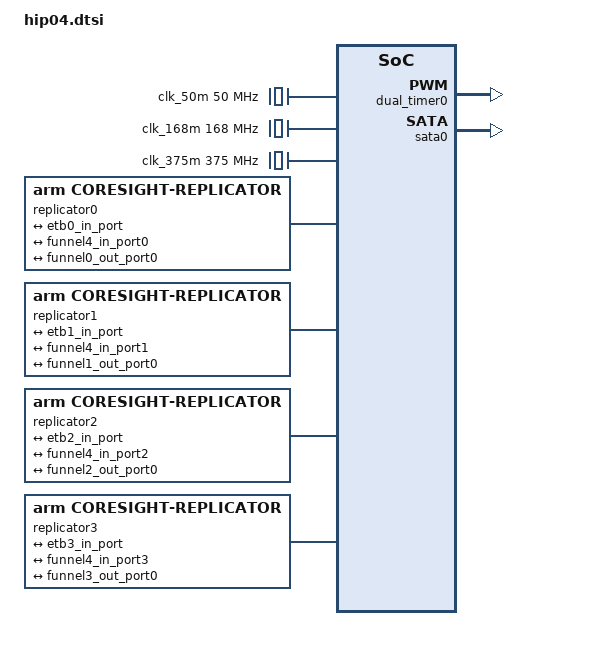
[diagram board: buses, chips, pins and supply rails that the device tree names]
// SPDX-License-Identifier: GPL-2.0-only
/*
 * Hisilicon Ltd. HiP04 SoC
 *
 * Copyright (C) 2013-2014 Hisilicon Ltd.
 * Copyright (C) 2013-2014 Linaro Ltd.
 *
 * Author: Haojian Zhuang <haojian.zhuang@linaro.org>
 */

/ {
	/* memory bus is 64-bit */
	#address-cells = <2>;
	#size-cells = <2>;

	aliases {
		serial0 = &uart0;
	};

	bootwrapper {
		compatible = "hisilicon,hip04-bootwrapper";
		boot-method = <0x10c00000 0x10000>, <0xe0000100 0x1000>;
	};

	cpus {
		#address-cells = <1>;
		#size-cells = <0>;

		cpu-map {
			cluster0 {
				core0 {
					cpu = <&CPU0>;
				};
				core1 {
					cpu = <&CPU1>;
				};
				core2 {
					cpu = <&CPU2>;
				};
				core3 {
					cpu = <&CPU3>;
				};
			};
			cluster1 {
				core0 {
					cpu = <&CPU4>;
				};
				core1 {
					cpu = <&CPU5>;
				};
				core2 {
					cpu = <&CPU6>;
				};
				core3 {
					cpu = <&CPU7>;
				};
			};
			cluster2 {
				core0 {
					cpu = <&CPU8>;
				};
				core1 {
					cpu = <&CPU9>;
				};
				core2 {
					cpu = <&CPU10>;
				};
				core3 {
					cpu = <&CPU11>;
				};
			};
			cluster3 {
				core0 {
					cpu = <&CPU12>;
				};
				core1 {
					cpu = <&CPU13>;
				};
				core2 {
					cpu = <&CPU14>;
				};
				core3 {
					cpu = <&CPU15>;
				};
			};
		};
		CPU0: cpu@0 {
			device_type = "cpu";
			compatible = "arm,cortex-a15";
			reg = <0>;
		};
		CPU1: cpu@1 {
			device_type = "cpu";
			compatible = "arm,cortex-a15";
			reg = <1>;
		};
		CPU2: cpu@2 {
			device_type = "cpu";
			compatible = "arm,cortex-a15";
			reg = <2>;
		};
		CPU3: cpu@3 {
			device_type = "cpu";
			compatible = "arm,cortex-a15";
			reg = <3>;
		};
		CPU4: cpu@100 {
			device_type = "cpu";
			compatible = "arm,cortex-a15";
			reg = <0x100>;
		};
		CPU5: cpu@101 {
			device_type = "cpu";
			compatible = "arm,cortex-a15";
			reg = <0x101>;
		};
		CPU6: cpu@102 {
			device_type = "cpu";
			compatible = "arm,cortex-a15";
			reg = <0x102>;
		};
		CPU7: cpu@103 {
			device_type = "cpu";
			compatible = "arm,cortex-a15";
			reg = <0x103>;
		};
		CPU8: cpu@200 {
			device_type = "cpu";
			compatible = "arm,cortex-a15";
			reg = <0x200>;
		};
		CPU9: cpu@201 {
			device_type = "cpu";
			compatible = "arm,cortex-a15";
			reg = <0x201>;
		};
		CPU10: cpu@202 {
			device_type = "cpu";
			compatible = "arm,cortex-a15";
			reg = <0x202>;
		};
		CPU11: cpu@203 {
			device_type = "cpu";
			compatible = "arm,cortex-a15";
			reg = <0x203>;
		};
		CPU12: cpu@300 {
			device_type = "cpu";
			compatible = "arm,cortex-a15";
			reg = <0x300>;
		};
		CPU13: cpu@301 {
			device_type = "cpu";
			compatible = "arm,cortex-a15";
			reg = <0x301>;
		};
		CPU14: cpu@302 {
			device_type = "cpu";
			compatible = "arm,cortex-a15";
			reg = <0x302>;
		};
		CPU15: cpu@303 {
			device_type = "cpu";
			compatible = "arm,cortex-a15";
			reg = <0x303>;
		};
	};

	timer {
		compatible = "arm,armv7-timer";
		interrupt-parent = <&gic>;
		interrupts = <1 13 0xf08>,
			     <1 14 0xf08>,
			     <1 11 0xf08>,
			     <1 10 0xf08>;
	};

	clk_50m: clk_50m {
		#clock-cells = <0>;
		compatible = "fixed-clock";
		clock-frequency = <50000000>;
	};

	clk_168m: clk_168m {
		#clock-cells = <0>;
		compatible = "fixed-clock";
		clock-frequency = <168000000>;
	};

	clk_375m: clk_375m {
		#clock-cells = <0>;
		compatible = "fixed-clock";
		clock-frequency = <375000000>;
	};

	soc {
		/* It's a 32-bit SoC. */
		#address-cells = <1>;
		#size-cells = <1>;
		compatible = "simple-bus";
		interrupt-parent = <&gic>;
		ranges = <0 0 0xe0000000 0x10000000>;

		gic: interrupt-controller@c01000 {
			compatible = "hisilicon,hip04-intc";
			#interrupt-cells = <3>;
			#address-cells = <0>;
			interrupt-controller;
			interrupts = <1 9 0xf04>;

			reg = <0xc01000 0x1000>, <0xc02000 0x1000>,
			      <0xc04000 0x2000>, <0xc06000 0x2000>;
		};

		sysctrl: sysctrl {
			compatible = "hisilicon,sysctrl";
			reg = <0x3e00000 0x00100000>;
		};

		fabric: fabric {
			compatible = "hisilicon,hip04-fabric";
			reg = <0x302a000 0x1000>;
		};

		dual_timer0: dual_timer@3000000 {
			compatible = "arm,sp804", "arm,primecell";
			reg = <0x3000000 0x1000>;
			interrupts = <0 224 4>;
			clocks = <&clk_50m>, <&clk_50m>;
			clock-names = "apb_pclk";
		};

		arm-pmu {
			compatible = "arm,cortex-a15-pmu";
			interrupts = <0 64 4>,
				     <0 65 4>,
				     <0 66 4>,
				     <0 67 4>,
				     <0 68 4>,
				     <0 69 4>,
				     <0 70 4>,
				     <0 71 4>,
				     <0 72 4>,
				     <0 73 4>,
				     <0 74 4>,
				     <0 75 4>,
				     <0 76 4>,
				     <0 77 4>,
				     <0 78 4>,
				     <0 79 4>;
		};

		uart0: uart@4007000 {
			compatible = "snps,dw-apb-uart";
			reg = <0x4007000 0x1000>;
			interrupts = <0 381 4>;
			clocks = <&clk_168m>;
			clock-names = "uartclk";
			reg-shift = <2>;
			status = "disabled";
		};

		sata0: sata@a000000 {
			compatible = "hisilicon,hisi-ahci";
			reg = <0xa000000 0x1000000>;
			interrupts = <0 372 4>;
		};

	};

	etb@0,e3c42000 {
		compatible = "arm,coresight-etb10", "arm,primecell";
		reg = <0 0xe3c42000 0 0x1000>;

		clocks = <&clk_375m>;
		clock-names = "apb_pclk";
		in-ports {
			port {
				etb0_in_port: endpoint@0 {
					remote-endpoint = <&replicator0_out_port0>;
				};
			};
		};
	};

	etb@0,e3c82000 {
		compatible = "arm,coresight-etb10", "arm,primecell";
		reg = <0 0xe3c82000 0 0x1000>;

		clocks = <&clk_375m>;
		clock-names = "apb_pclk";
		in-ports {
			port {
				etb1_in_port: endpoint@0 {
					remote-endpoint = <&replicator1_out_port0>;
				};
			};
		};
	};

	etb@0,e3cc2000 {
		compatible = "arm,coresight-etb10", "arm,primecell";
		reg = <0 0xe3cc2000 0 0x1000>;

		clocks = <&clk_375m>;
		clock-names = "apb_pclk";
		in-ports {
			port {
				etb2_in_port: endpoint@0 {
					remote-endpoint = <&replicator2_out_port0>;
				};
			};
		};
	};

	etb@0,e3d02000 {
		compatible = "arm,coresight-etb10", "arm,primecell";
		reg = <0 0xe3d02000 0 0x1000>;

		clocks = <&clk_375m>;
		clock-names = "apb_pclk";
		in-ports {
			port {
				etb3_in_port: endpoint@0 {
					remote-endpoint = <&replicator3_out_port0>;
				};
			};
		};
	};

	tpiu@0,e3c05000 {
		compatible = "arm,coresight-tpiu", "arm,primecell";
		reg = <0 0xe3c05000 0 0x1000>;

		clocks = <&clk_375m>;
		clock-names = "apb_pclk";
		in-ports {
			port {
				tpiu_in_port: endpoint@0 {
					remote-endpoint = <&funnel4_out_port0>;
				};
			};
		};
	};

	replicator0 {
		/* non-configurable replicators don't show up on the
		 * AMBA bus.  As such no need to add "arm,primecell".
		 */
		compatible = "arm,coresight-replicator";

		out-ports {
			#address-cells = <1>;
			#size-cells = <0>;

			/* replicator output ports */
			port@0 {
				reg = <0>;
				replicator0_out_port0: endpoint {
					remote-endpoint = <&etb0_in_port>;
				};
			};

			port@1 {
				reg = <1>;
				replicator0_out_port1: endpoint {
					remote-endpoint = <&funnel4_in_port0>;
				};
			};
		};

		in-ports {
			port {
				replicator0_in_port0: endpoint {
					remote-endpoint = <&funnel0_out_port0>;
				};
			};
		};
	};

	replicator1 {
		/* non-configurable replicators don't show up on the
		 * AMBA bus.  As such no need to add "arm,primecell".
		 */
		compatible = "arm,coresight-replicator";

		out-ports {
			#address-cells = <1>;
			#size-cells = <0>;

			/* replicator output ports */
			port@0 {
				reg = <0>;
				replicator1_out_port0: endpoint {
					remote-endpoint = <&etb1_in_port>;
				};
			};

			port@1 {
				reg = <1>;
				replicator1_out_port1: endpoint {
					remote-endpoint = <&funnel4_in_port1>;
				};
			};
		};

		in-ports {
			port {
				replicator1_in_port0: endpoint {
					remote-endpoint = <&funnel1_out_port0>;
				};
			};
		};
	};

	replicator2 {
		/* non-configurable replicators don't show up on the
		 * AMBA bus.  As such no need to add "arm,primecell".
		 */
		compatible = "arm,coresight-replicator";

		out-ports {
			#address-cells = <1>;
			#size-cells = <0>;

			port@0 {
				reg = <0>;
				replicator2_out_port0: endpoint {
					remote-endpoint = <&etb2_in_port>;
				};
			};

			port@1 {
				reg = <1>;
					replicator2_out_port1: endpoint {
					remote-endpoint = <&funnel4_in_port2>;
				};
			};
		};

		in-ports {
			port {
				replicator2_in_port0: endpoint {
					remote-endpoint = <&funnel2_out_port0>;
				};
			};
		};
	};

	replicator3 {
		/* non-configurable replicators don't show up on the
		 * AMBA bus.  As such no need to add "arm,primecell".
		 */
		compatible = "arm,coresight-replicator";

		out-ports {
			#address-cells = <1>;
			#size-cells = <0>;

			port@0 {
				reg = <0>;
				replicator3_out_port0: endpoint {
					remote-endpoint = <&etb3_in_port>;
				};
			};

			port@1 {
				reg = <1>;
				replicator3_out_port1: endpoint {
					remote-endpoint = <&funnel4_in_port3>;
				};
			};
		};

		in-ports {
			port {
				replicator3_in_port0: endpoint {
					remote-endpoint = <&funnel3_out_port0>;
				};
			};
		};
	};

	funnel@0,e3c41000 {
		compatible = "arm,coresight-funnel", "arm,primecell";
		reg = <0 0xe3c41000 0 0x1000>;

		clocks = <&clk_375m>;
		clock-names = "apb_pclk";
		out-ports {
			port {
				funnel0_out_port0: endpoint {
					remote-endpoint =
						<&replicator0_in_port0>;
				};
			};
		};

		in-ports {
			#address-cells = <1>;
			#size-cells = <0>;

			port@0 {
				reg = <0>;
				funnel0_in_port0: endpoint {
					remote-endpoint = <&ptm0_out_port>;
				};
			};

			port@1 {
				reg = <1>;
				funnel0_in_port1: endpoint {
					remote-endpoint = <&ptm1_out_port>;
				};
			};

			port@2 {
				reg = <2>;
				funnel0_in_port2: endpoint {
					remote-endpoint = <&ptm2_out_port>;
				};
			};

			port@3 {
				reg = <3>;
				funnel0_in_port3: endpoint {
					remote-endpoint = <&ptm3_out_port>;
				};
			};
		};
	};

	funnel@0,e3c81000 {
		compatible = "arm,coresight-funnel", "arm,primecell";
		reg = <0 0xe3c81000 0 0x1000>;

		clocks = <&clk_375m>;
		clock-names = "apb_pclk";
		out-ports {
			port {
				funnel1_out_port0: endpoint {
					remote-endpoint =
						<&replicator1_in_port0>;
				};
			};
		};

		in-ports {
			#address-cells = <1>;
			#size-cells = <0>;

			port@0 {
				reg = <0>;
				funnel1_in_port0: endpoint {
					remote-endpoint = <&ptm4_out_port>;
				};
			};

			port@1 {
				reg = <1>;
				funnel1_in_port1: endpoint {
					remote-endpoint = <&ptm5_out_port>;
				};
			};

			port@2 {
				reg = <2>;
				funnel1_in_port2: endpoint {
					remote-endpoint = <&ptm6_out_port>;
				};
			};

			port@3 {
				reg = <3>;
				funnel1_in_port3: endpoint {
					remote-endpoint = <&ptm7_out_port>;
				};
			};
		};
	};

	funnel@0,e3cc1000 {
		compatible = "arm,coresight-funnel", "arm,primecell";
		reg = <0 0xe3cc1000 0 0x1000>;

		clocks = <&clk_375m>;
		clock-names = "apb_pclk";
		out-ports {
			port {
				funnel2_out_port0: endpoint {
					remote-endpoint =
						<&replicator2_in_port0>;
				};
			};
		};

		in-ports {
			#address-cells = <1>;
			#size-cells = <0>;

			port@0 {
				reg = <0>;
				funnel2_in_port0: endpoint {
					remote-endpoint = <&ptm8_out_port>;
				};
			};

			port@1 {
				reg = <1>;
				funnel2_in_port1: endpoint {
					remote-endpoint = <&ptm9_out_port>;
				};
			};

			port@2 {
				reg = <2>;
				funnel2_in_port2: endpoint {
					remote-endpoint = <&ptm10_out_port>;
				};
			};

			port@3 {
				reg = <3>;
				funnel2_in_port3: endpoint {
					remote-endpoint = <&ptm11_out_port>;
				};
			};
		};
	};

	funnel@0,e3d01000 {
		compatible = "arm,coresight-funnel", "arm,primecell";
		reg = <0 0xe3d01000 0 0x1000>;

		clocks = <&clk_375m>;
		clock-names = "apb_pclk";
		out-ports {
			port {
				funnel3_out_port0: endpoint {
					remote-endpoint =
						<&replicator3_in_port0>;
				};
			};
		};

		in-ports {
			#address-cells = <1>;
			#size-cells = <0>;

			port@0 {
				reg = <0>;
				funnel3_in_port0: endpoint {
					remote-endpoint = <&ptm12_out_port>;
				};
			};

			port@1 {
				reg = <1>;
				funnel3_in_port1: endpoint {
					remote-endpoint = <&ptm13_out_port>;
				};
			};

			port@2 {
				reg = <2>;
				funnel3_in_port2: endpoint {
					remote-endpoint = <&ptm14_out_port>;
				};
			};

			port@3 {
				reg = <3>;
				funnel3_in_port3: endpoint {
					remote-endpoint = <&ptm15_out_port>;
				};
			};
		};
	};

	funnel@0,e3c04000 {
		compatible = "arm,coresight-funnel", "arm,primecell";
		reg = <0 0xe3c04000 0 0x1000>;

		clocks = <&clk_375m>;
		clock-names = "apb_pclk";
		out-ports {
			port {
				funnel4_out_port0: endpoint {
					remote-endpoint = <&tpiu_in_port>;
				};
			};
		};

		in-ports {
			#address-cells = <1>;
			#size-cells = <0>;

			port@0 {
				reg = <0>;
				funnel4_in_port0: endpoint {
					remote-endpoint =
						<&replicator0_out_port1>;
				};
			};

			port@1 {
				reg = <1>;
				funnel4_in_port1: endpoint {
					remote-endpoint =
						<&replicator1_out_port1>;
				};
			};

			port@2 {
				reg = <2>;
				funnel4_in_port2: endpoint {
					remote-endpoint =
						<&replicator2_out_port1>;
				};
			};

			port@3 {
				reg = <3>;
				funnel4_in_port3: endpoint {
					remote-endpoint =
						<&replicator3_out_port1>;
				};
			};
		};
	};

	ptm@0,e3c7c000 {
		compatible = "arm,coresight-etm3x", "arm,primecell";
		reg = <0 0xe3c7c000 0 0x1000>;

		clocks = <&clk_375m>;
		clock-names = "apb_pclk";
		cpu = <&CPU0>;
		out-ports {
			port {
				ptm0_out_port: endpoint {
					remote-endpoint = <&funnel0_in_port0>;
				};
			};
		};
	};

	ptm@0,e3c7d000 {
		compatible = "arm,coresight-etm3x", "arm,primecell";
		reg = <0 0xe3c7d000 0 0x1000>;

		clocks = <&clk_375m>;
		clock-names = "apb_pclk";
		cpu = <&CPU1>;
		out-ports {
			port {
				ptm1_out_port: endpoint {
					remote-endpoint = <&funnel0_in_port1>;
				};
			};
		};
	};

	ptm@0,e3c7e000 {
		compatible = "arm,coresight-etm3x", "arm,primecell";
		reg = <0 0xe3c7e000 0 0x1000>;

		clocks = <&clk_375m>;
		clock-names = "apb_pclk";
		cpu = <&CPU2>;
		out-ports {
			port {
				ptm2_out_port: endpoint {
					remote-endpoint = <&funnel0_in_port2>;
				};
			};
		};
	};

	ptm@0,e3c7f000 {
		compatible = "arm,coresight-etm3x", "arm,primecell";
		reg = <0 0xe3c7f000 0 0x1000>;

		clocks = <&clk_375m>;
		clock-names = "apb_pclk";
		cpu = <&CPU3>;
		out-ports {
			port {
				ptm3_out_port: endpoint {
					remote-endpoint = <&funnel0_in_port3>;
				};
			};
		};
	};

	ptm@0,e3cbc000 {
		compatible = "arm,coresight-etm3x", "arm,primecell";
		reg = <0 0xe3cbc000 0 0x1000>;

		clocks = <&clk_375m>;
		clock-names = "apb_pclk";
		cpu = <&CPU4>;
		out-ports {
			port {
				ptm4_out_port: endpoint {
					remote-endpoint = <&funnel1_in_port0>;
				};
			};
		};
	};

	ptm@0,e3cbd000 {
		compatible = "arm,coresight-etm3x", "arm,primecell";
		reg = <0 0xe3cbd000 0 0x1000>;

		clocks = <&clk_375m>;
		clock-names = "apb_pclk";
		cpu = <&CPU5>;
		out-ports {
			port {
				ptm5_out_port: endpoint {
					remote-endpoint = <&funnel1_in_port1>;
				};
			};
		};
	};

	ptm@0,e3cbe000 {
		compatible = "arm,coresight-etm3x", "arm,primecell";
		reg = <0 0xe3cbe000 0 0x1000>;

		clocks = <&clk_375m>;
		clock-names = "apb_pclk";
		cpu = <&CPU6>;
		out-ports {
			port {
				ptm6_out_port: endpoint {
					remote-endpoint = <&funnel1_in_port2>;
				};
			};
		};
	};

	ptm@0,e3cbf000 {
		compatible = "arm,coresight-etm3x", "arm,primecell";
		reg = <0 0xe3cbf000 0 0x1000>;

		clocks = <&clk_375m>;
		clock-names = "apb_pclk";
		cpu = <&CPU7>;
		out-ports {
			port {
				ptm7_out_port: endpoint {
					remote-endpoint = <&funnel1_in_port3>;
				};
			};
		};
	};

	ptm@0,e3cfc000 {
		compatible = "arm,coresight-etm3x", "arm,primecell";
		reg = <0 0xe3cfc000 0 0x1000>;

		clocks = <&clk_375m>;
		clock-names = "apb_pclk";
		cpu = <&CPU8>;
		out-ports {
			port {
				ptm8_out_port: endpoint {
					remote-endpoint = <&funnel2_in_port0>;
				};
			};
		};
	};

	ptm@0,e3cfd000 {
		compatible = "arm,coresight-etm3x", "arm,primecell";
		reg = <0 0xe3cfd000 0 0x1000>;
		clocks = <&clk_375m>;
		clock-names = "apb_pclk";
		cpu = <&CPU9>;
		out-ports {
			port {
				ptm9_out_port: endpoint {
					remote-endpoint = <&funnel2_in_port1>;
				};
			};
		};
	};

	ptm@0,e3cfe000 {
		compatible = "arm,coresight-etm3x", "arm,primecell";
		reg = <0 0xe3cfe000 0 0x1000>;

		clocks = <&clk_375m>;
		clock-names = "apb_pclk";
		cpu = <&CPU10>;
		out-ports {
			port {
				ptm10_out_port: endpoint {
					remote-endpoint = <&funnel2_in_port2>;
				};
			};
		};
	};

	ptm@0,e3cff000 {
		compatible = "arm,coresight-etm3x", "arm,primecell";
		reg = <0 0xe3cff000 0 0x1000>;

		clocks = <&clk_375m>;
		clock-names = "apb_pclk";
		cpu = <&CPU11>;
		out-ports {
			port {
				ptm11_out_port: endpoint {
					remote-endpoint = <&funnel2_in_port3>;
				};
			};
		};
	};

	ptm@0,e3d3c000 {
		compatible = "arm,coresight-etm3x", "arm,primecell";
		reg = <0 0xe3d3c000 0 0x1000>;

		clocks = <&clk_375m>;
		clock-names = "apb_pclk";
		cpu = <&CPU12>;
		out-ports {
			port {
				ptm12_out_port: endpoint {
					remote-endpoint = <&funnel3_in_port0>;
				};
			};
		};
	};

	ptm@0,e3d3d000 {
		compatible = "arm,coresight-etm3x", "arm,primecell";
		reg = <0 0xe3d3d000 0 0x1000>;

		clocks = <&clk_375m>;
		clock-names = "apb_pclk";
		cpu = <&CPU13>;
		out-ports {
			port {
				ptm13_out_port: endpoint {
					remote-endpoint = <&funnel3_in_port1>;
				};
			};
		};
	};

	ptm@0,e3d3e000 {
		compatible = "arm,coresight-etm3x", "arm,primecell";
		reg = <0 0xe3d3e000 0 0x1000>;

		clocks = <&clk_375m>;
		clock-names = "apb_pclk";
		cpu = <&CPU14>;
		out-ports {
			port {
				ptm14_out_port: endpoint {
					remote-endpoint = <&funnel3_in_port2>;
				};
			};
		};
	};

	ptm@0,e3d3f000 {
		compatible = "arm,coresight-etm3x", "arm,primecell";
		reg = <0 0xe3d3f000 0 0x1000>;

		clocks = <&clk_375m>;
		clock-names = "apb_pclk";
		cpu = <&CPU15>;
		out-ports {
			port {
				ptm15_out_port: endpoint {
					remote-endpoint = <&funnel3_in_port3>;
				};
			};
		};
	};
};
